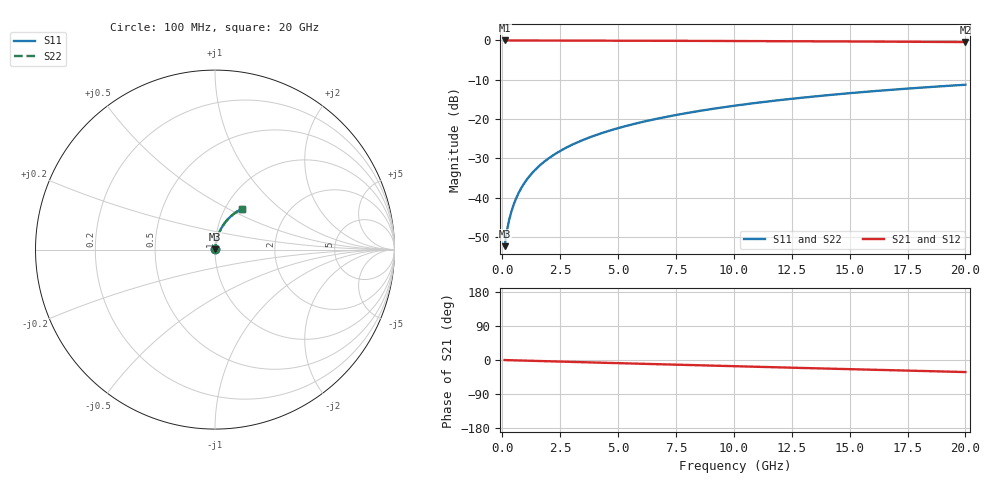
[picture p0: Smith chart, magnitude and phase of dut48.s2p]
! Touchstone file exported from HFSS 2026.1.0
!  File:  C:/ffzhzh/LocalFiles/Ansys_Project_Files/temp_train_TMRDL_48_1782880812_43084.aedt
!  Generated:  12:41:30 PM Jul  1, 2026
!  Design:  TMRDL
!  Project:  temp_train_TMRDL_48_1782880812_43084
! Variables:
!  h_bsmrdl = 2um
!  h_ox = 20um
!  h_rdl = 5um
!  h_sub = 80um
!  h_tmrdl = 5.45um
!  h_tsv = 80um
!  h_via = 3um
!  l_bsmrdl = 300um
!  l_sub = 874.07um
!  l_tmrdl = 474.07um
!  m_sub = 200um
!  pitch = 42.27um
!  r_tsv = 6um
!  s_tmrdl = 10um
!  w_bsmrdl = 18um
!  w_sub = 500um
!  w_tmrdl = 19.88um
!  x_tsv_center1 = 484.01um
!  x_tsv_center2 = 802.01um
!  x_tsv_center3 = 1295.96um
!  x_tsv_center4 = 1613.96um
!  x_tsv_center5 = 2107.91um
!  x_tsv_center6 = 2425.91um
# GHz S MA R 50.000000
! Terminal data exported
! Port[1] = TM_RDL1_1_T1
! Port[2] = TM_RDL1_1_T2
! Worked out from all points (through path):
!   200 points, 100 MHz to 20 GHz, reference 50 ohm
!   highest |S21| = -0.01 dB at 100 MHz (marker M1); lowest = -0.4 dB at 20 GHz (marker M2)
!   group delay of S21, straight-line fit = 4.41 ps
!   lowest |S11| = -52.3 dB at 100 MHz (marker M3), VSWR 1.00, Z = 50.2 + j0.173 ohm
!   |S11| at or under -10 dB: start of sweep to end of sweep
!   |S22| runs from -52.3 to -11.3 dB; largest |S21 - S12| = 3.5e-15
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0.1  0.002424 45.4  0.9983 -0.2  0.9983 -0.2  0.002424 45.4
! Gamma 0 0 0 0
! Port Impedance 50 0 50 0
0.2  0.003823 61.4  0.9982 -0.4  0.9982 -0.4  0.003823 61.4
0.3  0.005302 68.6  0.9981 -0.5  0.9981 -0.5  0.005302 68.6
0.4  0.006808 72.7  0.998 -0.7  0.998 -0.7  0.006808 72.7
0.5  0.008333 75.3  0.998 -0.9  0.998 -0.9  0.008333 75.3
0.6  0.009872 77.1  0.9979 -1.0  0.9979 -1.0  0.009872 77.1
0.8  0.01297 79.3  0.9978 -1.4  0.9978 -1.4  0.01297 79.3
1.1  0.01765 80.9  0.9976 -1.9  0.9976 -1.9  0.01765 80.9
1.3  0.02078 81.4  0.9975 -2.2  0.9975 -2.2  0.02078 81.4
1.5  0.0239 81.7  0.9973 -2.5  0.9973 -2.5  0.0239 81.7
1.8  0.02856 81.8  0.997 -3.0  0.997 -3.0  0.02856 81.8
2.1  0.0332 81.7  0.9967 -3.5  0.9967 -3.5  0.0332 81.7
2.7  0.04239 81.2  0.996 -4.5  0.996 -4.5  0.04239 81.2
3.5  0.05448 80.3  0.9949 -5.9  0.9949 -5.9  0.05448 80.3
4.2  0.0649 79.3  0.9938 -7.0  0.9938 -7.0  0.0649 79.3
5  0.07668 78.2  0.9925 -8.3  0.9925 -8.3  0.07668 78.2
6.8  0.1027 75.7  0.9892 -11.2  0.9892 -11.2  0.1027 75.7
8.3  0.1239 73.5  0.9862 -13.7  0.9862 -13.7  0.1239 73.5
10.1  0.1488 70.9  0.9821 -16.5  0.9821 -16.5  0.1488 70.9
13.4  0.1929 66.0  0.9736 -21.7  0.9736 -21.7  0.1929 66.0
16.7  0.2344 61.1  0.9637 -26.8  0.9637 -26.8  0.2344 61.1
20  0.2731 56.3  0.953 -31.8  0.953 -31.8  0.2731 56.3
